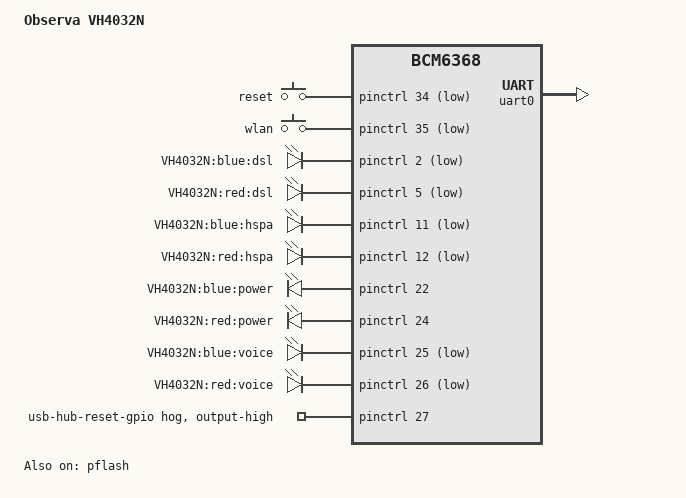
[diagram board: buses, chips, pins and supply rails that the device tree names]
/dts-v1/;

#include "bcm6368.dtsi"

#include <dt-bindings/input/input.h>

/ {
	model = "Observa VH4032N";
	compatible = "observa,vh4032n", "brcm,bcm6368";

	aliases {
		led-boot = &led_power_blue;
		led-failsafe = &led_power_blue;
		led-running = &led_power_blue;
		led-upgrade = &led_power_blue;
	};

	chosen {
		bootargs = "rootfstype=squashfs,jffs2 noinitrd console=ttyS0,115200";
		stdout-path = "serial0:115200n8";
	};

	keys {
		compatible = "gpio-keys-polled";
		#address-cells = <1>;
		#size-cells = <0>;
		poll-interval = <20>;

		reset {
			label = "reset";
			gpios = <&pinctrl 34 1>;
			linux,code = <KEY_RESTART>;
			debounce-interval = <60>;
		};

		wlan {
			label = "wlan";
			gpios = <&pinctrl 35 1>;
			linux,code = <KEY_WLAN>;
			debounce-interval = <60>;
		};
	};

	leds {
		compatible = "gpio-leds";

		dsl_blue {
			label = "VH4032N:blue:dsl";
			gpios = <&pinctrl 2 1>;
		};
		dsl_red {
			label = "VH4032N:red:dsl";
			gpios = <&pinctrl 5 1>;
		};
		hspa_blue {
			label = "VH4032N:blue:hspa";
			gpios = <&pinctrl 11 1>;
		};
		hspa_red {
			label = "VH4032N:red:hspa";
			gpios = <&pinctrl 12 1>;
		};
		led_power_blue: power_blue {
			label = "VH4032N:blue:power";
			gpios = <&pinctrl 22 0>;
			default-state = "on";
		};
		power_red {
			label = "VH4032N:red:power";
			gpios = <&pinctrl 24 0>;
		};
		voice_blue {
			label = "VH4032N:blue:voice";
			gpios = <&pinctrl 25 1>;
		};
		voice_red {
			label = "VH4032N:red:voice";
			gpios = <&pinctrl 26 1>;
		};
	};
};

&pinctrl {
       pinctrl-names = "default";
       pinctrl-0 = <&pinctrl_pci &pinctrl_ephy0_led &pinctrl_ephy1_led
		    &pinctrl_ephy2_led &pinctrl_ephy3_led>;

	usb_hub_reset {
		gpio-hog;
		gpios = <27 0>;
		output-high;
		line-name = "usb-hub-reset-gpio";
	};
};

&pflash {
	status = "okay";

	partitions {
		compatible = "fixed-partitions";
		#address-cells = <1>;
		#size-cells = <1>;

		cfe@0 {
			label = "CFE";
			reg = <0x0000000 0x0020000>;
			read-only;
		};

		linux@20000 {
			label = "linux";
			reg = <0x0020000 0x1fc0000>;
			compatible = "brcm,bcm963xx-imagetag";
		};

		nvram@1fe0000 {
			label = "nvram";
			reg = <0x1fe0000 0x020000>;
		};
	};
};

&uart0 {
	status = "okay";
};
